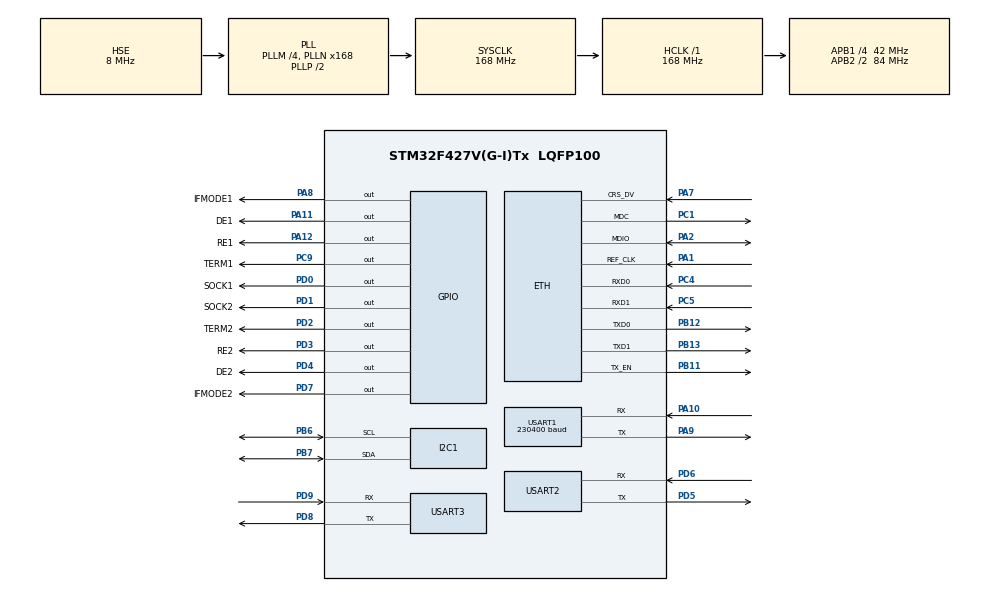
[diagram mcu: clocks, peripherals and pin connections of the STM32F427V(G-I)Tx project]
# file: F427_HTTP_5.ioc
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Dma.Request0=USART2_RX
Dma.Request1=USART2_TX
Dma.Request2=USART3_RX
Dma.Request3=USART3_TX
Dma.USART2_RX.0.Direction=DMA_PERIPH_TO_MEMORY
Dma.USART2_RX.0.FIFOMode=DMA_FIFOMODE_DISABLE
Dma.USART2_RX.0.Instance=DMA1_Stream5
Dma.USART2_RX.0.MemDataAlignment=DMA_MDATAALIGN_BYTE
Dma.USART2_RX.0.MemInc=DMA_MINC_ENABLE
Dma.USART2_RX.0.Mode=DMA_NORMAL
Dma.USART2_RX.0.PeriphDataAlignment=DMA_PDATAALIGN_BYTE
Dma.USART2_RX.0.PeriphInc=DMA_PINC_DISABLE
Dma.USART2_RX.0.Priority=DMA_PRIORITY_LOW
Dma.USART2_TX.1.Direction=DMA_MEMORY_TO_PERIPH
Dma.USART2_TX.1.FIFOMode=DMA_FIFOMODE_DISABLE
Dma.USART2_TX.1.Instance=DMA1_Stream6
Dma.USART2_TX.1.MemDataAlignment=DMA_MDATAALIGN_BYTE
Dma.USART2_TX.1.MemInc=DMA_MINC_ENABLE
Dma.USART2_TX.1.Mode=DMA_NORMAL
Dma.USART2_TX.1.PeriphDataAlignment=DMA_PDATAALIGN_BYTE
Dma.USART2_TX.1.PeriphInc=DMA_PINC_DISABLE
Dma.USART2_TX.1.Priority=DMA_PRIORITY_LOW
Dma.USART3_RX.2.Direction=DMA_PERIPH_TO_MEMORY
Dma.USART3_RX.2.FIFOMode=DMA_FIFOMODE_DISABLE
Dma.USART3_RX.2.Instance=DMA1_Stream1
Dma.USART3_RX.2.MemDataAlignment=DMA_MDATAALIGN_BYTE
Dma.USART3_RX.2.MemInc=DMA_MINC_ENABLE
Dma.USART3_RX.2.Mode=DMA_NORMAL
Dma.USART3_RX.2.PeriphDataAlignment=DMA_PDATAALIGN_BYTE
Dma.USART3_RX.2.PeriphInc=DMA_PINC_DISABLE
Dma.USART3_RX.2.Priority=DMA_PRIORITY_LOW
Dma.USART3_TX.3.Direction=DMA_MEMORY_TO_PERIPH
Dma.USART3_TX.3.FIFOMode=DMA_FIFOMODE_DISABLE
Dma.USART3_TX.3.Instance=DMA1_Stream3
Dma.USART3_TX.3.MemDataAlignment=DMA_MDATAALIGN_BYTE
Dma.USART3_TX.3.MemInc=DMA_MINC_ENABLE
Dma.USART3_TX.3.Mode=DMA_NORMAL
Dma.USART3_TX.3.PeriphDataAlignment=DMA_PDATAALIGN_BYTE
Dma.USART3_TX.3.PeriphInc=DMA_PINC_DISABLE
Dma.USART3_TX.3.Priority=DMA_PRIORITY_LOW
ETH.MediaInterface=ETH_MEDIA_INTERFACE_RMII
ETH.PhyAddress=0
ETH.RxMode=ETH_RXINTERRUPT_MODE
FREERTOS.INCLUDE_uxTaskGetStackHighWaterMark=1
FREERTOS.Queues01=UART_RX_Q_1,2,UART_RX_Data*,0,Dynamic,NULL,NULL;UART_RX_Q_2,2,UART_RX_Data*,0,Dynamic,NULL,NULL
FREERTOS.Tasks01=defaultTask,0,256,StartDefaultTask,Default,NULL,Dynamic,NULL,NULL
FREERTOS.configGENERATE_RUN_TIME_STATS=1
FREERTOS.configMINIMAL_STACK_SIZE=256
FREERTOS.configTOTAL_HEAP_SIZE=32768
FREERTOS.configUSE_STATS_FORMATTING_FUNCTIONS=1
FREERTOS.configUSE_TRACE_FACILITY=1
I2C1.I2C_Mode=I2C_Fast
LWIP.DEFAULT_THREAD_STACKSIZE=2*1024
LWIP.GATEWAY_ADDRESS=192.168.001.001
LWIP.IP_ADDRESS=192.168.001.005
LWIP.LWIP_DHCP=0
LWIP.LWIP_NETIF_STATUS_CALLBACK=1
LWIP.LWIP_SINGLE_NETIF=1
LWIP.LWIP_SO_RCVTIMEO=1
LWIP.MEMP_NUM_NETBUF=4
LWIP.MEMP_NUM_NETCONN=8
LWIP.MEMP_NUM_PBUF=20
LWIP.MEMP_NUM_SYS_TIMEOUT=6
LWIP.MEMP_NUM_TCP_PCB=32
LWIP.MEMP_NUM_TCP_SEG=24
LWIP.MEM_SIZE=32768
LWIP.NETMASK_ADDRESS=255.255.255.000
LWIP.PBUF_POOL_BUFSIZE=1524
LWIP.PBUF_POOL_SIZE=20
LWIP.SLIPIF_THREAD_STACKSIZE=1024
LWIP.TCPIP_THREAD_STACKSIZE=2*1024
LWIP.TCP_MSS=1460
LWIP.TCP_SND_BUF=5840
LWIP.Version=v2.1.2_Cube
Mcu.Family=STM32F4
Mcu.Name=STM32F427V(G-I)Tx
Mcu.Package=LQFP100
NVIC.DMA1_Stream1_IRQn=true\:5\:0\:false\:false\:true\:true\:false\:true
NVIC.DMA1_Stream3_IRQn=true\:5\:0\:false\:false\:true\:true\:false\:true
NVIC.DMA1_Stream5_IRQn=true\:5\:0\:false\:false\:true\:true\:false\:true
NVIC.DMA1_Stream6_IRQn=true\:5\:0\:false\:false\:true\:true\:false\:true
NVIC.ETH_IRQn=true\:5\:0\:false\:false\:true\:true\:false\:true
NVIC.PriorityGroup=NVIC_PRIORITYGROUP_4
NVIC.TIM1_TRG_COM_TIM11_IRQn=true\:5\:0\:false\:false\:true\:true\:true\:true
NVIC.TIM6_DAC_IRQn=true\:0\:0\:false\:false\:true\:false\:false\:true
NVIC.TIM7_IRQn=true\:5\:0\:false\:false\:true\:true\:true\:true
NVIC.TimeBase=TIM6_DAC_IRQn
NVIC.TimeBaseIP=TIM6
NVIC.USART2_IRQn=true\:5\:0\:false\:false\:true\:true\:true\:true
NVIC.USART3_IRQn=true\:5\:0\:false\:false\:true\:true\:true\:true
PA1.Mode=RMII
PA1.Signal=ETH_REF_CLK
PA10.Mode=Asynchronous
PA10.Signal=USART1_RX
PA11.GPIO_Label=DE1
PA11.Signal=GPIO_Output
PA12.GPIO_Label=RE1
PA12.Signal=GPIO_Output
PA13.Mode=Serial_Wire
PA13.Signal=SYS_JTMS-SWDIO
PA14.Mode=Serial_Wire
PA14.Signal=SYS_JTCK-SWCLK
PA2.Mode=RMII
PA2.Signal=ETH_MDIO
PA7.Mode=RMII
PA7.Signal=ETH_CRS_DV
PA8.GPIO_Label=IFMODE1
PA8.Signal=GPIO_Output
PA9.Mode=Asynchronous
PA9.Signal=USART1_TX
PB11.Mode=RMII
PB11.Signal=ETH_TX_EN
PB12.Mode=RMII
PB12.Signal=ETH_TXD0
PB13.Mode=RMII
PB13.Signal=ETH_TXD1
PB6.Mode=I2C
PB6.Signal=I2C1_SCL
PB7.Mode=I2C
PB7.Signal=I2C1_SDA
PC1.Mode=RMII
PC1.Signal=ETH_MDC
PC4.Mode=RMII
PC4.Signal=ETH_RXD0
PC5.Mode=RMII
PC5.Signal=ETH_RXD1
PC9.GPIO_Label=TERM1
PC9.Signal=GPIO_Output
PD0.GPIO_Label=SOCK1
PD0.Signal=GPIO_Output
PD1.GPIO_Label=SOCK2
PD1.Signal=GPIO_Output
PD2.GPIO_Label=TERM2
PD2.Signal=GPIO_Output
PD3.GPIO_Label=RE2
PD3.Signal=GPIO_Output
PD4.GPIO_Label=DE2
PD4.Signal=GPIO_Output
PD5.Mode=Asynchronous
PD5.Signal=USART2_TX
PD6.Mode=Asynchronous
PD6.Signal=USART2_RX
PD7.GPIO_Label=IFMODE2
PD7.Signal=GPIO_Output
PD8.Mode=Asynchronous
PD8.Signal=USART3_TX
PD9.Mode=Asynchronous
PD9.Signal=USART3_RX
PH0/OSC_IN.Mode=HSE-External-Oscillator
PH0/OSC_IN.Signal=RCC_OSC_IN
PH1/OSC_OUT.Mode=HSE-External-Oscillator
PH1/OSC_OUT.Signal=RCC_OSC_OUT
ProjectManager.HeapSize=0x2000
ProjectManager.StackSize=0x4000
ProjectManager.TargetToolchain=STM32CubeIDE
RCC.48MHZClocksFreq_Value=48000000
RCC.AHBFreq_Value=168000000
RCC.APB1CLKDivider=RCC_HCLK_DIV4
RCC.APB1Freq_Value=42000000
RCC.APB1TimFreq_Value=84000000
RCC.APB2CLKDivider=RCC_HCLK_DIV2
RCC.APB2Freq_Value=84000000
RCC.APB2TimFreq_Value=168000000
RCC.CortexFreq_Value=168000000
RCC.HCLKFreq_Value=168000000
RCC.HSE_VALUE=8000000
RCC.HSI_VALUE=16000000
RCC.LSE_VALUE=32768
RCC.PLLM=4
RCC.PLLN=168
RCC.PLLQ=7
RCC.PLLSourceVirtual=RCC_PLLSOURCE_HSE
RCC.SYSCLKFreq_VALUE=168000000
RCC.SYSCLKSource=RCC_SYSCLKSOURCE_PLLCLK
RCC.VCOOutputFreq_Value=336000000
TIM11.Period=99
TIM11.Prescaler=167
TIM7.Period=999
TIM7.Prescaler=83
USART1.BaudRate=230400
USART1.VirtualMode=VM_ASYNC
USART2.VirtualMode=VM_ASYNC
USART3.VirtualMode=VM_ASYNC
VP_FREERTOS_VS_CMSIS_V1.Mode=CMSIS_V1
VP_LWIP_VS_Enabled.Mode=Enabled
VP_RNG_VS_RNG.Mode=RNG_Activate
VP_SYS_VS_tim6.Mode=TIM6
VP_TIM11_VS_ClockSourceINT.Mode=Enable_Timer
VP_TIM7_VS_ClockSourceINT.Mode=Enable_Timer
board=custom

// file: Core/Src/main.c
/* USER CODE BEGIN Header */
/**
  ******************************************************************************
  * @file           : main.c
  * @brief          : Main program body
  ******************************************************************************
  * @attention
  *
  * <h2><center>&copy; Copyright (c) 2021 STMicroelectronics.
  * All rights reserved.</center></h2>
  *
  * This software component is licensed by ST under Ultimate Liberty license
  * SLA0044, the "License"; You may not use this file except in compliance with
  * the License. You may obtain a copy of the License at:
  *                             www.st.com/SLA0044
  *
  ******************************************************************************
  */
/* USER CODE END Header */
#include "main.h"
#include "cmsis_os.h"
#include "lwip.h"

/* USER CODE BEGIN Includes */
#include "tcp_server.h"
#include "converter.h"
#include "string.h"
#include "eeprom.h"
#include "stdlib.h"
#include "jsonParcer.h"
#include "stdio.h"
#include "http_server.h"
/* USER CODE END Includes */

/* USER CODE BEGIN PD */
#define NO_ACTIVITY_TIMEOUT	300
/* USER CODE END PD */

I2C_HandleTypeDef hi2c1;

RNG_HandleTypeDef hrng;

TIM_HandleTypeDef htim7;
TIM_HandleTypeDef htim11;

UART_HandleTypeDef huart1;
UART_HandleTypeDef huart2;
UART_HandleTypeDef huart3;
DMA_HandleTypeDef hdma_usart2_rx;
DMA_HandleTypeDef hdma_usart2_tx;
DMA_HandleTypeDef hdma_usart3_rx;
DMA_HandleTypeDef hdma_usart3_tx;

osThreadId defaultTaskHandle;
osMessageQId UART_RX_Q_1Handle;
osMessageQId UART_RX_Q_2Handle;
/* USER CODE BEGIN PV */
uint16_t mSecCounter;
uint16_t secCounter;
uint32_t runTime = 0; //Debug. Dont forget to remove

extern struct netif gnetif;
/* USER CODE END PV */

void SystemClock_Config(void);
static void MX_GPIO_Init(void);
static void MX_DMA_Init(void);
static void MX_TIM7_Init(void);
static void MX_USART2_UART_Init(void);
static void MX_USART3_UART_Init(void);
static void MX_I2C1_Init(void);
static void MX_RNG_Init(void);
static void MX_TIM11_Init(void);
static void MX_USART1_UART_Init(void);
void StartDefaultTask(void const * argument);

int main(void)
{
  /* USER CODE BEGIN 1 */
	uint32_t randomNumber = 0;
	uint16_t sRandomNumber = 0;
  /* USER CODE END 1 */

  /* MCU Configuration--------------------------------------------------------*/

  /* Reset of all peripherals, Initializes the Flash interface and the Systick. */
  HAL_Init();

  /* Configure the system clock */
  SystemClock_Config();

  /* Initialize all configured peripherals */
  MX_GPIO_Init();
  MX_DMA_Init();
  MX_TIM7_Init();
  MX_USART2_UART_Init();
  MX_USART3_UART_Init();
  MX_I2C1_Init();
  MX_RNG_Init();
  MX_TIM11_Init();
  MX_USART1_UART_Init();
  /* USER CODE BEGIN 2 */
  HAL_TIM_Base_Start_IT(&htim7);

//	  deviceInitDefaults();
  	//Load settings from EEPROM
	eepromRead((uint8_t*)&eepromSettings, sizeof (defaultSettings));

	//Initialize rand()
	randomNumber = HAL_RNG_GetRandomNumber(&hrng)%65535;
	sRandomNumber = (uint16_t)randomNumber;
	srand(sRandomNumber); //
  /* USER CODE END 2 */

  /* Create the queue(s) */
  /* definition and creation of UART_RX_Q_1 */
  osMessageQDef(UART_RX_Q_1, 2, UART_RX_Data*);
  UART_RX_Q_1Handle = osMessageCreate(osMessageQ(UART_RX_Q_1), NULL);

  /* definition and creation of UART_RX_Q_2 */
  osMessageQDef(UART_RX_Q_2, 2, UART_RX_Data*);
  UART_RX_Q_2Handle = osMessageCreate(osMessageQ(UART_RX_Q_2), NULL);

  /* Create the thread(s) */
  /* definition and creation of defaultTask */
  osThreadDef(defaultTask, StartDefaultTask, osPriorityNormal, 0, 256);
  defaultTaskHandle = osThreadCreate(osThread(defaultTask), NULL);

  /* Start scheduler */
  osKernelStart();

  /* We should never get here as control is now taken by the scheduler */
  /* Infinite loop */
  while (1)
  {

  }
}

void SystemClock_Config(void)
{
  RCC_OscInitTypeDef RCC_OscInitStruct = {0};
  RCC_ClkInitTypeDef RCC_ClkInitStruct = {0};

  /** Configure the main internal regulator output voltage
  */
  __HAL_RCC_PWR_CLK_ENABLE();
  __HAL_PWR_VOLTAGESCALING_CONFIG(PWR_REGULATOR_VOLTAGE_SCALE1);
  /** Initializes the RCC Oscillators according to the specified parameters
  * in the RCC_OscInitTypeDef structure.
  */
  RCC_OscInitStruct.OscillatorType = RCC_OSCILLATORTYPE_HSE;
  RCC_OscInitStruct.HSEState = RCC_HSE_ON;
  RCC_OscInitStruct.PLL.PLLState = RCC_PLL_ON;
  RCC_OscInitStruct.PLL.PLLSource = RCC_PLLSOURCE_HSE;
  RCC_OscInitStruct.PLL.PLLM = 4;
  RCC_OscInitStruct.PLL.PLLN = 168;
  RCC_OscInitStruct.PLL.PLLP = RCC_PLLP_DIV2;
  RCC_OscInitStruct.PLL.PLLQ = 7;
  if (HAL_RCC_OscConfig(&RCC_OscInitStruct) != HAL_OK)
  {
    Error_Handler();
  }
  /** Initializes the CPU, AHB and APB buses clocks
  */
  RCC_ClkInitStruct.ClockType = RCC_CLOCKTYPE_HCLK|RCC_CLOCKTYPE_SYSCLK
                              |RCC_CLOCKTYPE_PCLK1|RCC_CLOCKTYPE_PCLK2;
  RCC_ClkInitStruct.SYSCLKSource = RCC_SYSCLKSOURCE_PLLCLK;
  RCC_ClkInitStruct.AHBCLKDivider = RCC_SYSCLK_DIV1;
  RCC_ClkInitStruct.APB1CLKDivider = RCC_HCLK_DIV4;
  RCC_ClkInitStruct.APB2CLKDivider = RCC_HCLK_DIV2;

  if (HAL_RCC_ClockConfig(&RCC_ClkInitStruct, FLASH_LATENCY_5) != HAL_OK)
  {
    Error_Handler();
  }
}

static void MX_I2C1_Init(void)
{

  hi2c1.Instance = I2C1;
  hi2c1.Init.ClockSpeed = 400000;
  hi2c1.Init.DutyCycle = I2C_DUTYCYCLE_2;
  hi2c1.Init.OwnAddress1 = 0;
  hi2c1.Init.AddressingMode = I2C_ADDRESSINGMODE_7BIT;
  hi2c1.Init.DualAddressMode = I2C_DUALADDRESS_DISABLE;
  hi2c1.Init.OwnAddress2 = 0;
  hi2c1.Init.GeneralCallMode = I2C_GENERALCALL_DISABLE;
  hi2c1.Init.NoStretchMode = I2C_NOSTRETCH_DISABLE;
  if (HAL_I2C_Init(&hi2c1) != HAL_OK)
  {
    Error_Handler();
  }
  /** Configure Analogue filter
  */
  if (HAL_I2CEx_ConfigAnalogFilter(&hi2c1, I2C_ANALOGFILTER_ENABLE) != HAL_OK)
  {
    Error_Handler();
  }
  /** Configure Digital filter
  */
  if (HAL_I2CEx_ConfigDigitalFilter(&hi2c1, 0) != HAL_OK)
  {
    Error_Handler();
  }

}

static void MX_RNG_Init(void)
{

  hrng.Instance = RNG;
  if (HAL_RNG_Init(&hrng) != HAL_OK)
  {
    Error_Handler();
  }

}

static void MX_TIM7_Init(void)
{

  TIM_MasterConfigTypeDef sMasterConfig = {0};

  htim7.Instance = TIM7;
  htim7.Init.Prescaler = 83;
  htim7.Init.CounterMode = TIM_COUNTERMODE_UP;
  htim7.Init.Period = 999;
  htim7.Init.AutoReloadPreload = TIM_AUTORELOAD_PRELOAD_DISABLE;
  if (HAL_TIM_Base_Init(&htim7) != HAL_OK)
  {
    Error_Handler();
  }
  sMasterConfig.MasterOutputTrigger = TIM_TRGO_RESET;
  sMasterConfig.MasterSlaveMode = TIM_MASTERSLAVEMODE_DISABLE;
  if (HAL_TIMEx_MasterConfigSynchronization(&htim7, &sMasterConfig) != HAL_OK)
  {
    Error_Handler();
  }

}

static void MX_TIM11_Init(void)
{

  htim11.Instance = TIM11;
  htim11.Init.Prescaler = 167;
  htim11.Init.CounterMode = TIM_COUNTERMODE_UP;
  htim11.Init.Period = 99;
  htim11.Init.ClockDivision = TIM_CLOCKDIVISION_DIV1;
  htim11.Init.AutoReloadPreload = TIM_AUTORELOAD_PRELOAD_DISABLE;
  if (HAL_TIM_Base_Init(&htim11) != HAL_OK)
  {
    Error_Handler();
  }

}

static void MX_USART1_UART_Init(void)
{

  huart1.Instance = USART1;
  huart1.Init.BaudRate = 230400;
  huart1.Init.WordLength = UART_WORDLENGTH_8B;
  huart1.Init.StopBits = UART_STOPBITS_1;
  huart1.Init.Parity = UART_PARITY_NONE;
  huart1.Init.Mode = UART_MODE_TX_RX;
  huart1.Init.HwFlowCtl = UART_HWCONTROL_NONE;
  huart1.Init.OverSampling = UART_OVERSAMPLING_16;
  if (HAL_UART_Init(&huart1) != HAL_OK)
  {
    Error_Handler();
  }

}

static void MX_USART2_UART_Init(void)
{

  huart2.Instance = USART2;
  huart2.Init.BaudRate = 115200;
  huart2.Init.WordLength = UART_WORDLENGTH_8B;
  huart2.Init.StopBits = UART_STOPBITS_1;
  huart2.Init.Parity = UART_PARITY_NONE;
  huart2.Init.Mode = UART_MODE_TX_RX;
  huart2.Init.HwFlowCtl = UART_HWCONTROL_NONE;
  huart2.Init.OverSampling = UART_OVERSAMPLING_16;
  if (HAL_UART_Init(&huart2) != HAL_OK)
  {
    Error_Handler();
  }

}

static void MX_USART3_UART_Init(void)
{

  huart3.Instance = USART3;
  huart3.Init.BaudRate = 115200;
  huart3.Init.WordLength = UART_WORDLENGTH_8B;
  huart3.Init.StopBits = UART_STOPBITS_1;
  huart3.Init.Parity = UART_PARITY_NONE;
  huart3.Init.Mode = UART_MODE_TX_RX;
  huart3.Init.HwFlowCtl = UART_HWCONTROL_NONE;
  huart3.Init.OverSampling = UART_OVERSAMPLING_16;
  if (HAL_UART_Init(&huart3) != HAL_OK)
  {
    Error_Handler();
  }

}

static void MX_DMA_Init(void)
{

  /* DMA controller clock enable */
  __HAL_RCC_DMA1_CLK_ENABLE();

  /* DMA interrupt init */
  /* DMA1_Stream1_IRQn interrupt configuration */
  HAL_NVIC_SetPriority(DMA1_Stream1_IRQn, 5, 0);
  HAL_NVIC_EnableIRQ(DMA1_Stream1_IRQn);
  /* DMA1_Stream3_IRQn interrupt configuration */
  HAL_NVIC_SetPriority(DMA1_Stream3_IRQn, 5, 0);
  HAL_NVIC_EnableIRQ(DMA1_Stream3_IRQn);
  /* DMA1_Stream5_IRQn interrupt configuration */
  HAL_NVIC_SetPriority(DMA1_Stream5_IRQn, 5, 0);
  HAL_NVIC_EnableIRQ(DMA1_Stream5_IRQn);
  /* DMA1_Stream6_IRQn interrupt configuration */
  HAL_NVIC_SetPriority(DMA1_Stream6_IRQn, 5, 0);
  HAL_NVIC_EnableIRQ(DMA1_Stream6_IRQn);

}

static void MX_GPIO_Init(void)
{
  GPIO_InitTypeDef GPIO_InitStruct = {0};

  /* GPIO Ports Clock Enable */
  __HAL_RCC_GPIOH_CLK_ENABLE();
  __HAL_RCC_GPIOC_CLK_ENABLE();
  __HAL_RCC_GPIOA_CLK_ENABLE();
  __HAL_RCC_GPIOB_CLK_ENABLE();
  __HAL_RCC_GPIOD_CLK_ENABLE();

  /*Configure GPIO pin Output Level */
  HAL_GPIO_WritePin(TERM1_GPIO_Port, TERM1_Pin, GPIO_PIN_RESET);

  /*Configure GPIO pin Output Level */
  HAL_GPIO_WritePin(GPIOA, IFMODE1_Pin|DE1_Pin|RE1_Pin, GPIO_PIN_RESET);

  /*Configure GPIO pin Output Level */
  HAL_GPIO_WritePin(GPIOD, SOCK1_Pin|SOCK2_Pin|TERM2_Pin|RE2_Pin
                          |DE2_Pin|IFMODE2_Pin, GPIO_PIN_RESET);

  /*Configure GPIO pin : TERM1_Pin */
  GPIO_InitStruct.Pin = TERM1_Pin;
  GPIO_InitStruct.Mode = GPIO_MODE_OUTPUT_PP;
  GPIO_InitStruct.Pull = GPIO_NOPULL;
  GPIO_InitStruct.Speed = GPIO_SPEED_FREQ_LOW;
  HAL_GPIO_Init(TERM1_GPIO_Port, &GPIO_InitStruct);

  /*Configure GPIO pins : IFMODE1_Pin DE1_Pin RE1_Pin */
  GPIO_InitStruct.Pin = IFMODE1_Pin|DE1_Pin|RE1_Pin;
  GPIO_InitStruct.Mode = GPIO_MODE_OUTPUT_PP;
  GPIO_InitStruct.Pull = GPIO_NOPULL;
  GPIO_InitStruct.Speed = GPIO_SPEED_FREQ_LOW;
  HAL_GPIO_Init(GPIOA, &GPIO_InitStruct);

  /*Configure GPIO pins : SOCK1_Pin SOCK2_Pin TERM2_Pin RE2_Pin
                           DE2_Pin IFMODE2_Pin */
  GPIO_InitStruct.Pin = SOCK1_Pin|SOCK2_Pin|TERM2_Pin|RE2_Pin
                          |DE2_Pin|IFMODE2_Pin;
  GPIO_InitStruct.Mode = GPIO_MODE_OUTPUT_PP;
  GPIO_InitStruct.Pull = GPIO_NOPULL;
  GPIO_InitStruct.Speed = GPIO_SPEED_FREQ_LOW;
  HAL_GPIO_Init(GPIOD, &GPIO_InitStruct);

}

/* USER CODE BEGIN 4 */
int fputc(int ch, FILE *f)
{
	HAL_UART_Transmit(&huart1,(uint8_t*)&ch, 1, 100);
  return ch;
}

void configureTimerForRunTimeStats(void){
	runTime = 0;
	HAL_TIM_Base_Start_IT(&htim11);
}

unsigned long getRunTimeCounterValue(void){

	return runTime;
}

int _write(int file, char *ptr, int len)
{
	HAL_UART_Transmit(&huart1,(uint8_t*)ptr, len, 100);
	return len;
}

/* USER CODE END 4 */

void StartDefaultTask(void const * argument)
{
  /* init code for LWIP */
  MX_LWIP_Init();
  /* USER CODE BEGIN 5 */
  __HAL_UART_ENABLE_IT(&huart3, UART_IT_IDLE);
  HAL_UART_Receive_DMA(&huart3,uartRXData1.payload,BUFFER_SIZE);

  __HAL_UART_ENABLE_IT(&huart2, UART_IT_IDLE);
  HAL_UART_Receive_DMA(&huart2,uartRXData2.payload,BUFFER_SIZE);

  deviceInit();
  if (eepromSettings.webInterfaceEn){
	  sys_thread_new("http_thread",httpServerTask, NULL, 1*1024, osPriorityAboveNormal);
  }

//  osThreadTerminate(NULL);
  /* Infinite loop */
  for(;;)
  {
    osDelay(1000);
  }
  /* USER CODE END 5 */
}

 /**
  * @brief  Period elapsed callback in non blocking mode
  * @note   This function is called  when TIM6 interrupt took place, inside
  * HAL_TIM_IRQHandler(). It makes a direct call to HAL_IncTick() to increment
  * a global variable "uwTick" used as application time base.
  * @param  htim : TIM handle
  * @retval None
  */
void HAL_TIM_PeriodElapsedCallback(TIM_HandleTypeDef *htim)
{
  if (htim->Instance == TIM6) {
    HAL_IncTick();
  }
  /* USER CODE BEGIN Callback 1 */
  if (htim->Instance == TIM7){
	  if (mSecCounter < 1000) {
		  mSecCounter++;
	  } else {
		  secCounter++;
		  mSecCounter = 0;
	  }
	  if (secCounter == NO_ACTIVITY_TIMEOUT){
		  isAuthorized = 0;
	  }
  }
  /* USER CODE END Callback 1 */
}

void Error_Handler(void)
{
  __disable_irq();
  while (1)
  {
  }
}

/************************ (C) COPYRIGHT STMicroelectronics *****END OF FILE****/
